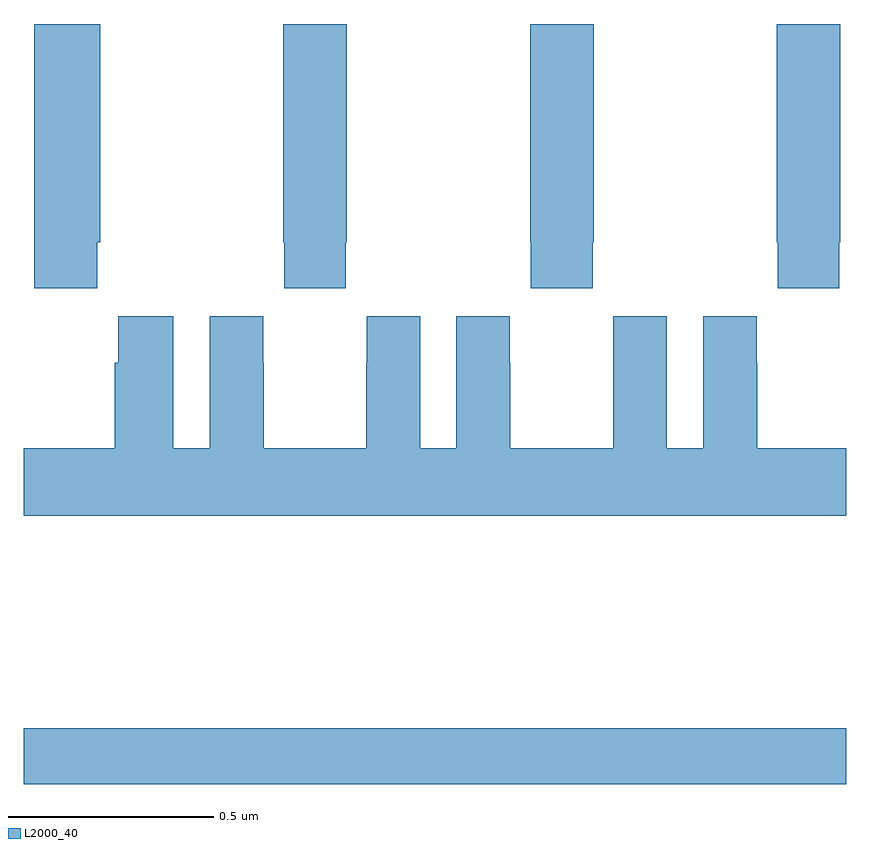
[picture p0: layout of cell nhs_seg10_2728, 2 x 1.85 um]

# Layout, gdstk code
import gdstk
lib = gdstk.Library(unit=1e-6, precision=1e-09)
def R(c, l, rs):  # rectangles x0, y0, x1, y1
    for r in rs: c.add(gdstk.rectangle(r[:2], r[2:], *l))
def P(c, l, *ps):  # polygons
    for p in ps: c.add(gdstk.Polygon(p, *l))
L2000_40 = (2000, 40)

nhs_seg10_2728 = lib.new_cell('nhs_seg10_2728')
R(nhs_seg10_2728, L2000_40, [(144,1311.652,146,1311.788)])
P(nhs_seg10_2728, L2000_40, [(144.179,1312.969),(144.186,1312.969),(144.186,1313.5),(144.026,1313.5),(144.026,1312.857),(144.179,1312.857)],
  [(144.783,1312.969),(144.786,1312.969),(144.786,1313.5),(144.631,1313.5),(144.631,1312.969),(144.633,1312.969),(144.633,1312.857),(144.783,1312.857)],
  [(145.383,1312.969),(145.386,1312.969),(145.386,1313.5),(145.231,1313.5),(145.231,1312.969),(145.233,1312.969),(145.233,1312.857),(145.383,1312.857)],
  [(145.983,1312.969),(145.986,1312.969),(145.986,1313.5),(145.831,1313.5),(145.831,1312.969),(145.833,1312.969),(145.833,1312.857),(145.983,1312.857)],
  [(146,1312.468),(145.783,1312.468),(145.783,1312.676),(145.782,1312.676),(145.782,1312.789),(145.652,1312.789),(145.652,1312.468),(145.564,1312.468),(145.564,1312.789),(145.434,1312.789),(145.434,1312.676),(145.433,1312.676),(145.433,1312.468),(145.183,1312.468),(145.183,1312.676),(145.182,1312.676),(145.182,1312.789),(145.052,1312.789),(145.052,1312.468),(144.964,1312.468),(144.964,1312.789),(144.834,1312.789),(144.834,1312.676),(144.833,1312.676),(144.833,1312.468),(144.583,1312.468),(144.583,1312.676),(144.582,1312.676),(144.582,1312.789),(144.452,1312.789),(144.452,1312.468),(144.364,1312.468),(144.364,1312.789),(144.23,1312.789),(144.23,1312.676),(144.221,1312.676),(144.221,1312.468),(144,1312.468),(144,1312.304),(146,1312.304)])

lib.write_gds('nhs_seg10_2728.gds')
